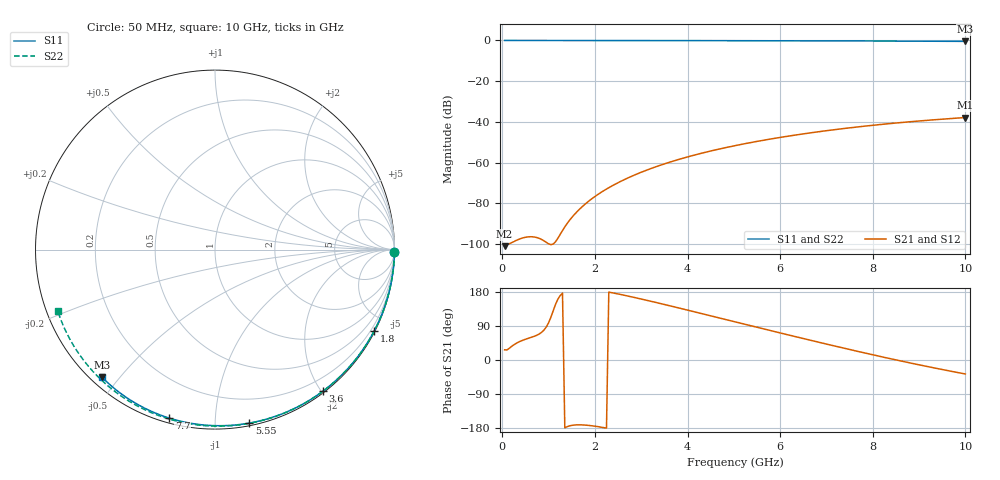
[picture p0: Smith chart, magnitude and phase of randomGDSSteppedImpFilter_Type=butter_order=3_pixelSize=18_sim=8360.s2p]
! freq	dB(S11)	phase(S11)	dB(S12)	phase(S12)
!  dB(S21)	phase(S21)	dB(S22)	phase(S22)
!S-par simulation data
#  GHz  S  DB  R 50
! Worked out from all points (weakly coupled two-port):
!   200 points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, 50 MHz to 10 GHz, reference 50 ohm
!   highest |S21| = -37.88 dB at 10 GHz (marker M1); lowest = -101.1 dB at 50 MHz (marker M2)
!   lowest |S11| = -0.5 dB at 10 GHz (marker M3), VSWR 38.59, Z = 1.56 - j22.5 ohm
!   |S11| at or under -10 dB: nowhere
!   |S22| runs from -0.5 to 0.0 dB; largest |S21 - S12| = 0
!   S11 on the Smith chart (normalised r, x): 50 MHz: open; 1.8 GHz: 0.04, -4.17; 3.6 GHz: 0.02, -2.02; 5.55 GHz: 0.02, -1.22; 7.7 GHz: 0.02, -0.76; 10 GHz: 0.03, -0.45
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0.05  -0.00 -0.8  -101.09 27.0  -101.09 27.0  -0.00 -0.9
0.45  -0.01 -6.8  -96.99 52.5  -96.99 52.5  -0.01 -8.2
0.9  -0.02 -13.6  -98.48 79.0  -98.48 79.0  -0.02 -16.4
1.3  -0.02 -19.6  -93.41 176.5  -93.41 176.5  -0.03 -23.5
1.75  -0.03 -26.2  -81.18 -171.4  -81.18 -171.4  -0.04 -31.5
1.8  -0.03 -27.0  -80.20 -171.8  -80.20 -171.8  -0.04 -32.4
2.15  -0.04 -32.1  -74.41 -177.5  -74.41 -177.5  -0.05 -38.5
2.5  -0.05 -37.2  -69.90 174.3  -69.90 174.3  -0.06 -44.5
2.9  -0.06 -42.9  -65.70 163.7  -65.70 163.7  -0.07 -51.4
3.4  -0.07 -49.9  -61.41 149.5  -61.41 149.5  -0.08 -59.7
3.6  -0.07 -52.7  -59.92 143.6  -59.92 143.6  -0.08 -63.0
3.95  -0.08 -57.6  -57.55 133.2  -57.55 133.2  -0.09 -68.7
4.3  -0.09 -62.3  -55.44 122.6  -55.44 122.6  -0.11 -74.4
5.05  -0.11 -72.3  -51.58 99.9  -51.58 99.9  -0.13 -86.1
5.55  -0.13 -78.8  -49.40 84.9  -49.40 84.9  -0.15 -93.7
6.1  -0.15 -85.7  -47.28 68.4  -47.28 68.4  -0.18 -102.0
6.7  -0.18 -93.2  -45.26 50.7  -45.26 50.7  -0.22 -110.8
7.2  -0.21 -99.2  -43.76 36.3  -43.76 36.3  -0.25 -118.0
7.7  -0.24 -105.2  -42.42 22.1  -42.42 22.1  -0.29 -125.2
8.35  -0.29 -112.8  -40.89 4.2  -40.89 4.2  -0.34 -134.5
9.2  -0.36 -122.5  -39.20 -17.8  -39.20 -17.8  -0.43 -146.7
10  -0.45 -131.6  -37.88 -36.9  -37.88 -36.9  -0.53 -158.6
